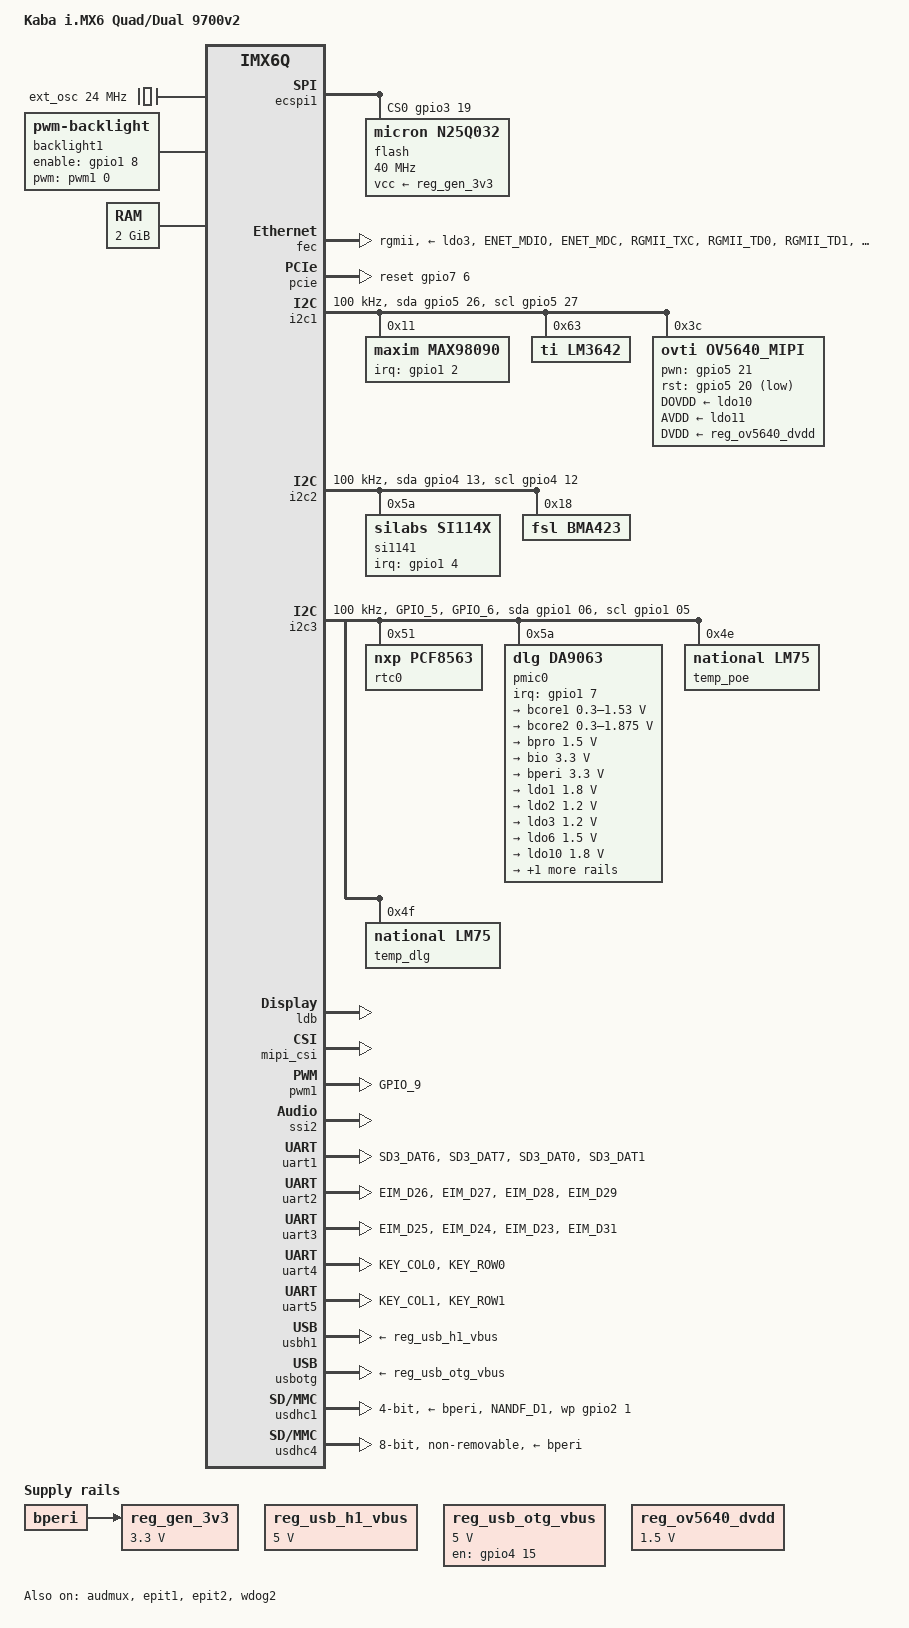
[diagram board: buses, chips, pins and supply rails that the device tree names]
/*
 * Copyright 2015 Silvio Fricke <silviof@linux4biz.eu>
 *
 * The code contained herein is licensed under the GNU General Public
 * License. You may obtain a copy of the GNU General Public License
 * Version 2 or later at the following locations:
 *
 * http://www.opensource.org/licenses/gpl-license.html
 * http://www.gnu.org/copyleft/gpl.html
 */

/dts-v1/;

#include "imx6q.dtsi"
#include <dt-bindings/interrupt-controller/irq.h>

/ {
	model = "Kaba i.MX6 Quad/Dual 9700v2";
	compatible = "fsl,imx6q-kaba-9700v2", "fsl,imx6q";

	/* this could be lead to problems in the future, but for now it
	 * compiles ... */
	compile_time_date = __DATE__;
	compile_time_time = __TIME__;

	linux,stdout-path = &uart1;

	aliases {
		mxcfb0 = &fb_lvds_display;
	};

	clocks {
		ext_osc: extclk1 {
			compatible = "fixed-clock";
			#clock-cells = <0>;
			clock-frequency = <24000000>;
		};
	};

	backlight1: pwm-backlight {
		status = "okay";
		compatible = "pwm-backlight";

		pinctrl-names = "default";
		pinctrl-0 = <&pinctrl_backlightctrl1_kaba>;

		enable-gpios = <&gpio1 8 GPIO_ACTIVE_HIGH>;

		pwms = <&pwm1 0 5000000>;
		brightness-levels = <  0   1   2   3   4   5   6   7   8   9
				      10  11  12  13  14  15  16  17  18  19
				      20  21  22  23  24  25  26  27  28  29
				      30  31  32  33  34  35  36  37  38  39
				      40  41  42  43  44  45  46  47  48  49
				      50  51  52  53  54  55  56  57  58  59
				      60  61  62  63  64  65  66  67  68  69
				      70  71  72  73  74  75  76  77  78  79
				      80  81  82  83  84  85  86  87  88  89
				      90  91  92  93  94  95  96  97  98  99
				     100 101 102 103 104 105 106 107 108 109
				     110 111 112 113 114 115 116 117 118 119
				     120 121 122 123 124 125 126 127 128 129
				     130 131 132 133 134 135 136 137 138 139
				     140 141 142 143 144 145 146 147 148 149
				     150 151 152 153 154 155 156 157 158 159
				     160 161 162 163 164 165 166 167 168 169
				     170 171 172 173 174 175 176 177 178 179
				     180 181 182 183 184 185 186 187 188 189
				     190 191 192 193 194 195 196 197 198 199
				     200 201 202 203 204 205 206 207 208 209
				     210 211 212 213 214 215 216 217 218 219
				     220 221 222 223 224 225 226 227 228 229
				     230 231 232 233 234 235 236 237 238 239
				     240 241 242 243 244 245 246 247 248 249
				     250 251 252 253 254 255>;
		default-brightness-level = <255>;
	};

	sound {
		/* values used in the several parts ...
		 * codec max98090
		 * output
		 * - HPL, HPR
		 * - SPKL, SPKR
		 * - RCVL, RCVR
		 * input
		 * - MIC1, MIC2
		 * - DMICL, DMICR
		 * - IN1, IN2, IN3, IN4, IN5, IN6
		 * - IN12, IN34, IN56
		 * - DMIC3, DMIC4
		 * supply
		 * - MICBIAS
		 * - SHDN
		 * - SDIEN
		 * - SDOEN
		 * - DMICL_ENA
		 * - DMICR_ENA
		 * - AHPF
		 *
		 * imx6-max98090 widgets
		 * - Mic Jack (MIC)
		 * - Line In Jack (LINE)
		 * - Headphone Jack (HP)
		 * - Line Out Jack (SPK)
		 * - Ext Spk (SPK)
		 */
		compatible = "fsl,imx-audio-max98090";
		model = "max98090";
		cpu-dai = <&ssi2>;
		audio-codec = <&max98090>;
		clock-frequency = <24000000>;  
		audio-routing =
			"Ext Spk", "SPKR",
			"Line Out Jack", "RCVL",
			"Line Out Jack", "RCVR",
			"MICBIAS", "Internal MIC",
			"MIC1", "MICBIAS";
		mux-int-port = <2>;
		mux-ext-port = <4>;
	};

	fb_lvds_display: fb@0 {
		compatible = "fsl,mxc_sdc_fb";
		disp_dev = "ldb";
		interface_pix_fmt = "RGB24";
		default_bpp = <24>;
		int_clk = <0>;
		late_init = <0>;
		status = "okay";
	};

	v4l2_cap_1 {
		compatible = "fsl,imx6q-v4l2-capture";
		ipu_id = <0>;
		csi_id = <0>;
		mclk_source = <0>;
		status = "okay";
	};

	regulators {
		compatible = "simple-bus";

		reg_gen_3v3: gen_3v3 {
			compatible = "regulator-fixed";
			regulator-name = "gen_3v3";
			regulator-min-microvolt = <3300000>;
			regulator-max-microvolt = <3300000>;
			enable-active-high;
			vin-supply = <&bperi>;
		};

		reg_usb_h1_vbus: usb_h1_vbus {
			compatible = "regulator-fixed";
			regulator-name = "usb_h1_vbus";
			regulator-min-microvolt = <5000000>;
			regulator-max-microvolt = <5000000>;
			enable-active-high;
		};

		reg_usb_otg_vbus: usb_otg_vbus {
			compatible = "regulator-fixed";
			regulator-name = "usb_otg_vbus";
			regulator-min-microvolt = <5000000>;
			regulator-max-microvolt = <5000000>;
			gpio = <&gpio4 15 0>;
			enable-active-high;
		};

		reg_ov5640_dvdd: ov5640_dvdd_1V5 {
			compatible = "regulator-fixed";
			regulator-name = "ov5640_dvdd_1V5";
			regulator-min-microvolt = <1500000>;
			regulator-max-microvolt = <1500000>;
		};
	};

	v4l2_out {
		compatible = "fsl,mxc_v4l2_output";
		status = "okay";
	};

	ramoops_device {
		compatible = "fsl,mxc_ramoops";
		record_size = <524288>;
		console_size = <262144>;
		ftrace_size = <262144>;
		dump_oops = <1>;
		status = "okay";
	};

	memory {
		reg = <0x10000000 0x80000000>;
	};
};

&audmux {
	pinctrl-names = "default";
	pinctrl-0 = <&pinctrl_audmux_kaba>;
	status = "okay";
};

&caam_sm  {
	status = "disabled";
};

&caam_snvs  {
	status = "disabled";
};

&cpu0 {
	pu-supply = <&pu_dummy>;
};

&crypto {
	status = "disabled";
};

&ecspi1 {
	status = "okay";

	pinctrl-names = "default";
	pinctrl-0 = <&pinctrl_ecspi1_1>, <&pinctrl_ecspi1_cs_1>;

	cs-gpios = <&gpio3 19 0>;
	fsl,spi-num-chipselects = <1>;

	flash: m25p80@0 {
		compatible = "micron,n25q032";
		reg = <0>;

		spi-max-frequency = <40000000>;
		vcc-supply = <&reg_gen_3v3>;

		#address-cells = <1>;
		#size-cells = <1>;
	};
};

&epit1 {
	epit-id = <0>;
	status = "okay";
};

&epit2 {
	epit-id = <1>;
	status = "okay";
};

&fec {
	pinctrl-names = "default";
	pinctrl-0 = <&pinctrl_enet_4_kaba>;
	phy-mode = "rgmii";
	phy-supply = <&ldo3>;
	phy-reset-gpios = <&gpio1 25 GPIO_ACTIVE_LOW>; 
	status = "okay";
};

&gpc {
	pu-supply = <&reg_pu>;
};

&gpu {
	pu-supply = <&reg_pu>;
};

&pcie {
	reset-gpio = <&gpio7 6 0>;
	status = "okay";
};
			
&i2c1 {
	clock-frequency = <100000>;
	pinctrl-names = "default", "gpio";
	pinctrl-0 = <&pinctrl_i2c1_2>;
   pinctrl-1 = <&pinctrl_i2c1_2_gpio>;
   scl-gpios = <&gpio5 27 GPIO_ACTIVE_HIGH>;
   sda-gpios = <&gpio5 26 GPIO_ACTIVE_HIGH>;
	status = "okay";

	max98090: max98090@11 {
		compatible = "maxim,max98090";
		reg = <0x11>;
		clocks = <&clks 201>;
		interrupt-parent = <&gpio1>;
		interrupts = <2 IRQ_TYPE_LEVEL_LOW>;
	};


	lm3642: lm3642@63 {
		compatible = "ti,lm3642";
		pinctrl-names = "default";
		pinctrl-0 = <&pinctrl_lm3642_kaba>;
		reg = <0x63>;
		//torch_pin;
		strobe_pin;
	};

	ov5640_mipi: ov5640_mipi@3c { /* i2c2 driver */
		compatible = "ovti,ov5640_mipi";
		reg = <0x3c>;

		pinctrl-names = "default";
		pinctrl-0 = <&pinctrl_ov5640_kaba>;

		clocks = <&ext_osc 0>;
		clock-names = "csi_mclk";

		DOVDD-supply = <&ldo10>; /* 1.8v */
		AVDD-supply = <&ldo11>;  /* 2.8v */
		DVDD-supply = <&reg_ov5640_dvdd>;

		pwn-gpios = <&gpio5 21 GPIO_ACTIVE_HIGH>;
		rst-gpios = <&gpio5 20 GPIO_ACTIVE_LOW>;

		csi_id = <0>;

		mclk = <24000000>;
		mclk_source = <0>;
	};

};

&i2c2 {
	clock-frequency = <100000>;
	pinctrl-names = "default", "gpio";
	pinctrl-0 = <&pinctrl_i2c2_2>;
   pinctrl-1 = <&pinctrl_i2c2_2_gpio>;
   scl-gpios = <&gpio4 12 GPIO_ACTIVE_HIGH>;
   sda-gpios = <&gpio4 13 GPIO_ACTIVE_HIGH>;
	 status = "okay";
		si1141: si1141@5a {
		compatible = "silabs,si114x";
		reg = <0x5a>;
		interrupt-parent = <&gpio1>;
		interrupts = <4 IRQ_TYPE_LEVEL_LOW>;
	};
	/* joes */  /* interrupts = <18 8>; joes */
	bma423@18 {
		compatible = "fsl,bma423";
		reg = <0x18>;
		position = <0>;
		interrupt-parent = <&gpio1>; 
		interrupt-route = <1>;
	};
};

&i2c3 {
	clock-frequency = <100000>;
	pinctrl-names = "default", "gpio";
	pinctrl-0 = <&pinctrl_i2c3_kaba>;
   pinctrl-1 = <&pinctrl_i2c3_kaba_gpio>;
   scl-gpios = <&gpio1 05 GPIO_ACTIVE_HIGH>;
   sda-gpios = <&gpio1 06 GPIO_ACTIVE_HIGH>;
	status = "okay";

	rtc0: pcf8563@51 {
		compatible = "nxp,pcf8563";
		reg = <0x51>;
	};

	pmic0: da9063@5a {
		compatible = "dlg,da9063";
		reg = <0x5a>;
		interrupt-parent = <&gpio1>;
		interrupts = <7 IRQ_TYPE_LEVEL_LOW>;
		interrupt-controller;

		status = "okay";

		hwmon {
			status = "okay";
			compatible = "dlg,da9063-hwmon";
			dlg,adcin1_cur = /bits/ 8 <0x03>; /*40uA*/
			dlg,adcin2_cur = /bits/ 8 <0x03>; /*40uA*/
			dlg,adcin3_cur = /bits/ 8 <0x00>; /*10uA*/
		};

		onkey {
			status = "disabled";
			compatible = "dlg,da9063-onkey";
		};

		regulators {
			status = "okay";
			bcore1: bcore1 {
				/* VDD_CORE */
				regulator-name = "da9063_bcore1";
				regulator-always-on;
				regulator-boot-on;
				regulator-min-microvolt = <300000>;
				regulator-max-microvolt = <1530000>;
				regulator-ramp-delay = <6250>;
				mode = <1>; /* <1> : FAST(sync), <2> : NORMAL, <8> : STANDBY */
			};

			bcore2: bcore2 {
				/* VDD_SOC */
				regulator-name = "da9063_bcore2";
				regulator-always-on;
				regulator-boot-on;
				regulator-min-microvolt = <300000>;
				regulator-max-microvolt = <1875000>;
				regulator-ramp-delay = <6250>;
			};

			bpro: bpro {
				/* DDR_1V5 */
				regulator-name = "da9063_bpro";
				regulator-always-on;
				regulator-min-microvolt = <1500000>;
				regulator-max-microvolt = <1500000>;
			};

			bio: bio {
				/* EXT_3V3 (jtag, external components) */
				regulator-name = "da9063_bio";
				regulator-always-on;
				regulator-min-microvolt = <3300000>;
				regulator-max-microvolt = <3300000>;
			};

			bperi: bperi {
				/* GEN_3V3 (da9063, lm75adp,
				 * imx6-internal:(lcd, eim0, eim1, eim2, gpio,
				 * sd1, sd2, sd3, sd4, nandf, jtag), nor, emmc,
				 * sdcard, mPCIE, usb phy, bluetooth)
				 * -> AVDDH (ksz9031)
				 */
				regulator-name = "da9063_bperi";
				regulator-always-on;
				regulator-boot-on;
				regulator-min-microvolt = <3300000>;
				regulator-max-microvolt = <3300000>;
			};

			ldo1: ldo1 {
				/* -> AVDD (max98090)
				 * -> DVDDIO (max98090)
				 * -> HPVDD (max98090)
				 */
				regulator-name = "da9063_ldo1";
				regulator-min-microvolt = <1800000>;
				regulator-max-microvolt = <1800000>;

				/* bugfix: the codec driver could not enable
				 * this regulator, so we will do this for him.
				 */
				regulator-always-on;
			};

			ldo2: ldo2 {
				/* -> DVDD (max98090) */
				regulator-name = "da9063_ldo2";
				regulator-min-microvolt = <1200000>;
				regulator-max-microvolt = <1200000>;

				/* bugfix: the codec driver could not enable
				 * this regulator, so we will do this for him.
				 */
				regulator-always-on;
			};

			ldo3: ldo3 {
				/* -> AVDDL_PLL (ksz9031)
				 * -> AVDDL (ksz9031)
				 * -> DVDDL (ksz9031)
				 */
				regulator-name = "da9063_ldo3";
				regulator-min-microvolt = <1200000>;
				regulator-max-microvolt = <1200000>;
				regulator-always-on;
			};

			ldo6: ldo6 {
				/* mPCIE */
				regulator-name = "da9063_ldo6";
				regulator-min-microvolt = <1500000>;
				regulator-max-microvolt = <1500000>;
				regulator-always-on;
			};

			ldo10: ldo10 {
				/* imx6-internal: csi, enet, rgmii
				 * -> DVDDH (ksz9031)
				 */
				regulator-name = "da9063_ldo10";
				regulator-min-microvolt = <1800000>;
				regulator-max-microvolt = <1800000>;

				/* bugfix: the fec driver could not enable this
				 * regulator, so we will do this for him.
				 */
				regulator-always-on;
			};

			ldo11: ldo11 {
				/* imx6-internal ldo2p5 for phys of sata, usb,
				 * lvds, hdmi, mipi, efuses and PLLs
				 */
				regulator-name = "da9063_ldo11";
				regulator-always-on;
				regulator-boot-on;
				regulator-min-microvolt = <2800000>;
				regulator-max-microvolt = <2800000>;
			};
		};

		rtc {
			/* kaba is not using the imx internal rtc */
			status = "disabled";
			compatible = "dlg,da9063-rtc";
		};

		wdt {
			status = "disabled";
			compatible = "dlg,da9063-watchdog";
		};
	};

	temp_poe: lm75@4e {
		compatible = "national,lm75";
		reg = <0x4e>;
	};

	temp_dlg: lm75@4f {
		compatible = "national,lm75";
		reg = <0x4f>;
	};
};

&iomuxc {
	pinctrl-names = "default";
	pinctrl-0 = <&pinctrl_hog_kaba>;

	aaa_hog {
		pinctrl_hog_kaba: hogctrlgrp-1-kaba {
			fsl,pins = <
				MX6QDL_PAD_KEY_ROW4__GPIO4_IO15 0x100b1 /* usb-otg-pwr-en */

				MX6QDL_PAD_NANDF_WP_B__GPIO6_IO09 0x100b1 /* D-IN1 */
				MX6QDL_PAD_NANDF_RB0__GPIO6_IO10 0x100b1 /* D-IN2 */
				MX6QDL_PAD_NANDF_CS0__GPIO6_IO11 0x100b1 /* D-IN3 */
				MX6QDL_PAD_NANDF_CS1__GPIO6_IO14 0x100b1 /* D-IN4 */
				MX6QDL_PAD_NANDF_CS2__GPIO6_IO15 0x1B0B0 /* D-OUT1 */
				MX6QDL_PAD_NANDF_CS3__GPIO6_IO16 0x1B0B0 /* D-OUT2 */

				MX6QDL_PAD_GPIO_19__GPIO4_IO05 0x100b1 /* SABO */
				MX6QDL_PAD_KEY_ROW2__GPIO4_IO11 0x100b1 /* DOC-RES */

				MX6QDL_PAD_KEY_COL2__GPIO4_IO10 0x100b1 /* CBM-IRQ */
				
				MX6QDL_PAD_DISP0_DAT7__GPIO4_IO28 0x100b1 /* PCIe_C_WAKE */
				MX6QDL_PAD_SD3_DAT2__GPIO7_IO06 0x100b1 /* PCIe RST */

				MX6QDL_PAD_DISP0_DAT9__GPIO4_IO30 0x100b1 /* READER2-RES */
				MX6QDL_PAD_DISP0_DAT14__GPIO5_IO08 0x100b1 /* READER1-RES */
			>;
		};
	};

	i2c1 {
		pinctrl_lm3642_kaba: lm3642 {
			fsl,pins = <
				MX6QDL_PAD_CSI0_DAT5__GPIO5_IO23  0x80000000
				MX6QDL_PAD_CSI0_DAT6__GPIO5_IO24  0x80000000
			>;
		};

		pinctrl_ov5640_kaba: ov5640 {
			fsl,pins = <
				MX6QDL_PAD_CSI0_DATA_EN__GPIO5_IO20 0x100b1
				MX6QDL_PAD_CSI0_VSYNC__GPIO5_IO21 0x100b1
			>;
		};
	};

	audmux {
		pinctrl_audmux_kaba: audmux-4-kaba {
			fsl,pins = <
				MX6QDL_PAD_DISP0_DAT20__AUD4_TXC  0x130b0
				MX6QDL_PAD_DISP0_DAT21__AUD4_TXD  0x110b0
				MX6QDL_PAD_DISP0_DAT22__AUD4_TXFS 0x130b0
				MX6QDL_PAD_DISP0_DAT23__AUD4_RXD  0x130b0
				MX6QDL_PAD_GPIO_0__CCM_CLKO1 0x130b0
			>;
		};
	};

	net {
		pinctrl_enet_4_kaba: enetgrp-4-kaba {
			fsl,pins = <
				MX6QDL_PAD_ENET_MDIO__ENET_MDIO 0x170f1
				MX6QDL_PAD_ENET_MDC__ENET_MDC 0x170f1
				MX6QDL_PAD_RGMII_TXC__RGMII_TXC 0x1b0b0
				MX6QDL_PAD_RGMII_TD0__RGMII_TD0 0x1b0b0
				MX6QDL_PAD_RGMII_TD1__RGMII_TD1 0x1b0b0
				MX6QDL_PAD_RGMII_TD2__RGMII_TD2 0x1b0b0
				MX6QDL_PAD_RGMII_TD3__RGMII_TD3 0x1b0b0
				MX6QDL_PAD_RGMII_TX_CTL__RGMII_TX_CTL 0x1b0b0
				MX6QDL_PAD_ENET_REF_CLK__ENET_TX_CLK 0x1b0b0
				MX6QDL_PAD_RGMII_RXC__RGMII_RXC 0x1b0b0
				MX6QDL_PAD_RGMII_RD0__RGMII_RD0 0x1b0b0
				MX6QDL_PAD_RGMII_RD1__RGMII_RD1 0x1b0b0
				MX6QDL_PAD_RGMII_RD2__RGMII_RD2 0x1b0b0
				MX6QDL_PAD_RGMII_RD3__RGMII_RD3 0x1b0b0
				MX6QDL_PAD_RGMII_RX_CTL__RGMII_RX_CTL 0x1b0b0
				MX6QDL_PAD_ENET_TX_EN__ENET_TX_EN 0x1b0b0
				MX6QDL_PAD_ENET_CRS_DV__GPIO1_IO25 0x1b0b0
			>;
		};
	};


	pwm-backlight {
		pinctrl_backlightctrl1_kaba: backlctrlgrp-1-kaba {
			fsl,pins = <
				MX6QDL_PAD_GPIO_8__GPIO1_IO08 0x100b1
			>;
		};
	};

	i2c3 {
		pinctrl_i2c3_kaba: i2c3grp-1-kaba {
			fsl,pins = <
				MX6QDL_PAD_GPIO_5__I2C3_SCL 0x4001b8b1
				MX6QDL_PAD_GPIO_6__I2C3_SDA 0x4001b8b1
			>;
		};

      pinctrl_i2c3_kaba_gpio: i2c3gpiogrp {
         fsl,pins = <
            MX6QDL_PAD_GPIO_5__GPIO1_IO05 0x4001b8b1
            MX6QDL_PAD_GPIO_6__GPIO1_IO06 0x4001b8b1
         >;
      };      
	};

	pwm1 {
		pinctrl_pwm1_kaba: pwm1grp-1-kaba {
			fsl,pins = <
				MX6QDL_PAD_GPIO_9__PWM1_OUT 0x1b0b1
			>;
		};
	};

	uart1 {
		pinctrl_uart1_kaba: uart1grp-1-kaba {
			fsl,pins = <
				MX6QDL_PAD_SD3_DAT6__UART1_RX_DATA 0x1b0b1
				MX6QDL_PAD_SD3_DAT7__UART1_TX_DATA 0x1b0b1
				MX6QDL_PAD_SD3_DAT0__UART1_CTS_B 0x1b0b1
				MX6QDL_PAD_SD3_DAT1__UART1_RTS_B 0x1b0b1
			>;
		};
	};

	uart2 {
		pinctrl_uart2_kaba: uart2grp-1-kaba {
			fsl,pins = <
				MX6QDL_PAD_EIM_D26__UART2_TX_DATA 0x1b0b1
				MX6QDL_PAD_EIM_D27__UART2_RX_DATA 0x1b0b1
				MX6QDL_PAD_EIM_D28__UART2_CTS_B 0x1b0b1
				MX6QDL_PAD_EIM_D29__UART2_RTS_B 0x1b0b1
			>;
		};
	};

	uart3 {
		pinctrl_uart3_kaba: uart3grp-1-kaba {
			fsl,pins = <
				MX6QDL_PAD_EIM_D25__UART3_TX_DATA 0x1b0b1
				MX6QDL_PAD_EIM_D24__UART3_RX_DATA 0x1b0b1
				MX6QDL_PAD_EIM_D23__UART3_CTS_B 0x1b0b1
				MX6QDL_PAD_EIM_D31__UART3_RTS_B 0x1b0b1
			>;
		};
	};

	uart4 {
		pinctrl_uart4_kaba: uart4grp-1-kaba {
			fsl,pins = <
				MX6QDL_PAD_KEY_COL0__UART4_TX_DATA 0x1b0b1
				MX6QDL_PAD_KEY_ROW0__UART4_RX_DATA 0x1b0b1
			>;
		};
	};

	uart5 {
		pinctrl_uart5_kaba: uart5grp-1-kaba {
			fsl,pins = <
				MX6QDL_PAD_KEY_COL1__UART5_TX_DATA 0x1b0b1
				MX6QDL_PAD_KEY_ROW1__UART5_RX_DATA 0x1b0b1
			>;
		};
	};

	usdhc1 {
		pinctrl_usdhc1_kaba: usdhc1grp-1-kaba {
			fsl,pins = <
				MX6QDL_PAD_NANDF_D1__GPIO2_IO01 0x80000000
			>;
		};
	};
};

&irq_sec_vio  {
	status = "disabled";
};

&ldb {
	status = "okay";
	dual-mode;
	
	lvds-channel@0 {
		fsl,data-mapping = "spwg";
		fsl,data-width = <24>;
		primary;
		crtc = "ipu1-di0";
		status = "okay";

		display-timings {
			native-mode = <&timing0>;

			timing0: G070Y2L01 {
				clock-frequency = <29500000>;
				hactive = <800>;
				vactive = <480>;
				hback-porch = <10>;
				hfront-porch = <192>;
				vback-porch = <3>;
				vfront-porch = <3>;
				hsync-len = <3>;
				vsync-len = <3>;
				 de-active = <1>;
			};
		};
	};
	lvds-channel@1 {
		status = "disabled";
	};
};

&mipi_csi {
	status = "okay";
	ipu_id = <0>;
	csi_id = <0>;
	v_channel = <0>;
	lanes = <2>;
};

&pwm1 {
	pinctrl-names = "default";
	pinctrl-0 = <&pinctrl_pwm1_kaba>;
	status = "okay";
};

&reg_arm {
	vin-supply = <&bcore1>;
};

&reg_soc {
	vin-supply = <&bcore2>;
};

&ssi2 {
	fsl,mode = "i2s-slave";
	status = "okay";
};


&uart1 {
	status = "okay";
	pinctrl-names = "default";
	pinctrl-0 = <&pinctrl_uart1_kaba>;
};

&uart2 {
	status = "okay";
	pinctrl-names = "default";
	pinctrl-0 = <&pinctrl_uart2_kaba>;
};

&uart3 {
	status = "okay";
	pinctrl-names = "default";
	pinctrl-0 = <&pinctrl_uart3_kaba>;
};

&uart4 {
	status = "okay";
	pinctrl-names = "default";
	pinctrl-0 = <&pinctrl_uart4_kaba>;
};

&uart5 {
	status = "okay";
	pinctrl-names = "default";
	pinctrl-0 = <&pinctrl_uart5_kaba>;
};

&usbh1 {
	status = "okay";

	vbus-supply = <&reg_usb_h1_vbus>;
};

&usbotg {
	status = "okay";

	pinctrl-names = "default";
	pinctrl-0 = <&pinctrl_usbotg_1>;

	vbus-supply = <&reg_usb_otg_vbus>;
	disable-over-current;
};

&usdhc1 {
	status = "okay";
	pinctrl-names = "default";
	pinctrl-0 = <&pinctrl_usdhc1_1>, <&pinctrl_usdhc1_kaba>;
	bus-width = <4>;
	vmmc-supply = <&bperi>;
	wp-gpios = <&gpio2 1 0>;
};

&usdhc4 {
	status = "okay";
	pinctrl-names = "default";
	pinctrl-0 = <&pinctrl_usdhc4_1>;
	bus-width = <8>;
	vmmc-supply = <&bperi>;
	non-removable;
	no-1-8-v;
};

&vpu {
	pu-supply = <&reg_pu>;
};

&wdog1 {
	status = "disabled";
};

&wdog2 {
	status = "okay";
};
